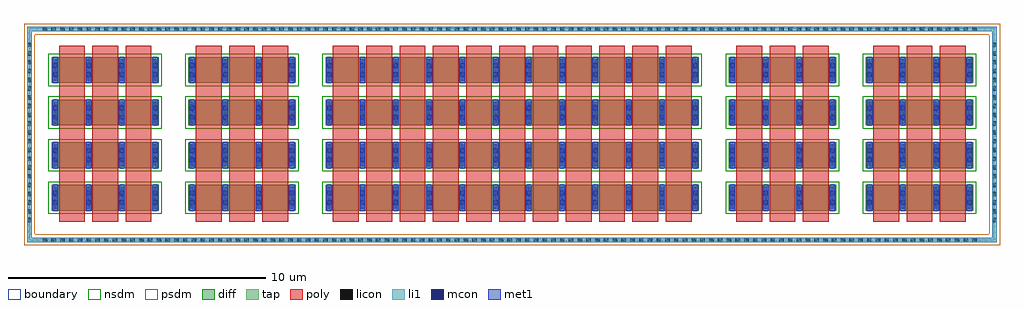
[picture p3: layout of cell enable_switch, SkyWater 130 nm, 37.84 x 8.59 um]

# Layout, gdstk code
import gdstk
lib = gdstk.Library(unit=1e-6, precision=1e-09)
def R(c, l, rs):  # rectangles x0, y0, x1, y1
    for r in rs: c.add(gdstk.rectangle(r[:2], r[2:], *l))
def A(c, l, x, y, w, h, nx, ny, dx, dy):  # array of equal rectangles
    R(c, l, [(x+i*dx, y+j*dy, x+i*dx+w, y+j*dy+h) for i in range(nx) for j in range(ny)])
diff = (65, 20)
tap = (65, 44)
poly = (66, 20)
licon = (66, 44)
li1 = (67, 20)
mcon = (67, 44)
met1 = (68, 20)
nsdm = (93, 44)
psdm = (94, 20)
boundary = (235, 4)

nfet_enable_switch = lib.new_cell('nfet_enable_switch')
R(nfet_enable_switch, diff, [(0.125,0.44,1.705,1.44)])
R(nfet_enable_switch, poly, [(0.415,0,1.415,1.88)])
A(nfet_enable_switch, licon, 0.185, 0.515, 0.17, 0.17, 1, 3, 0, 0.34)
A(nfet_enable_switch, licon, 1.475, 0.515, 0.17, 0.17, 1, 3, 0, 0.34)
R(nfet_enable_switch, li1, [(0.185,0.42,0.355,1.46), (1.475,0.42,1.645,1.46)])
R(nfet_enable_switch, mcon, [(0.185,0.675,0.355,0.845), (1.475,0.675,1.645,0.845), (0.185,1.035,0.355,1.205), (1.475,1.035,1.645,1.205)])
R(nfet_enable_switch, met1, [(0.155,0.44,0.385,1.44), (1.445,0.44,1.675,1.44)])
R(nfet_enable_switch, nsdm, [(0,0.315,1.815,1.565)])

nfet_m9 = lib.new_cell('nfet_M9')
R(nfet_m9, diff, [(0.125,0.45,1.705,1.45)])
R(nfet_m9, poly, [(0.415,0.01,1.415,1.89), (0.415,0.01,1.415,1.89)])
R(nfet_m9, licon, [(0.185,0.525,0.355,0.695), (0.185,0.525,0.355,0.695), (1.475,0.525,1.645,0.695), (1.475,0.525,1.645,0.695), (0.185,0.865,0.355,1.035), (0.185,0.865,0.355,1.035), (1.475,0.865,1.645,1.035), (1.475,0.865,1.645,1.035), (0.185,1.205,0.355,1.375), (0.185,1.205,0.355,1.375), (1.475,1.205,1.645,1.375), (1.475,1.205,1.645,1.375)])
R(nfet_m9, li1, [(0.185,0.43,0.355,1.47), (0.185,0.43,0.355,1.47), (1.475,0.43,1.645,1.47), (1.475,0.43,1.645,1.47)])
R(nfet_m9, mcon, [(0.185,0.685,0.355,0.855), (0.185,0.685,0.355,0.855), (1.475,0.685,1.645,0.855), (1.475,0.685,1.645,0.855), (0.185,1.045,0.355,1.215), (0.185,1.045,0.355,1.215), (1.475,1.045,1.645,1.215), (1.475,1.045,1.645,1.215)])
R(nfet_m9, met1, [(0.155,0.45,0.385,1.45), (0.155,0.45,0.385,1.45), (1.445,0.45,1.675,1.45), (1.445,0.45,1.675,1.45)])
R(nfet_m9, nsdm, [(0,0.325,1.82,1.575)])

nfet_en_sw_all_t = lib.new_cell('nfet_en_sw_all_t')
r = gdstk.Reference(nfet_enable_switch, (10.62,0)); r.repetition = gdstk.Repetition(11, 4, v1=(1.29,0), v2=(0,1.65)); nfet_en_sw_all_t.add(r)
r = gdstk.Reference(nfet_m9, (5.3,-0.01)); r.repetition = gdstk.Repetition(3, 4, v1=(1.29,0), v2=(0,1.65)); nfet_en_sw_all_t.add(r)
r = gdstk.Reference(nfet_m9, (31.57,-0.01)); r.repetition = gdstk.Repetition(3, 4, v1=(1.29,0), v2=(0,1.65)); nfet_en_sw_all_t.add(r)
r = gdstk.Reference(nfet_m9, (26.255,-0.01)); r.repetition = gdstk.Repetition(3, 4, v1=(1.29,0), v2=(0,1.65)); nfet_en_sw_all_t.add(r)
r = gdstk.Reference(nfet_m9, (0,-0.01)); r.repetition = gdstk.Repetition(3, 4, v1=(1.29,0), v2=(0,1.65)); nfet_en_sw_all_t.add(r)

enable_switch = lib.new_cell('enable_switch')
R(enable_switch, tap, [(-12.15,37.475,25.44,37.645), (-12.15,37.645,-11.98,45.645), (25.27,37.645,25.44,45.645), (-12.15,45.645,25.44,45.815)])
A(enable_switch, licon, -11.55, 37.475, 0.17, 0.17, 16, 2, 0.34, 8.17)
A(enable_switch, licon, -6.45, 37.475, 0.17, 0.17, 15, 2, 0.34, 8.17)
A(enable_switch, licon, -1.35, 37.475, 0.17, 0.17, 15, 2, 0.34, 8.17)
A(enable_switch, licon, 3.41, 37.475, 0.17, 0.17, 8, 2, 0.34, 8.17)
A(enable_switch, licon, 8.17, 37.475, 0.17, 0.17, 15, 2, 0.34, 8.17)
A(enable_switch, licon, 13.27, 37.475, 0.17, 0.17, 12, 2, 0.34, 8.17)
A(enable_switch, licon, 20.41, 37.475, 0.17, 0.17, 6, 2, 0.34, 8.17)
A(enable_switch, licon, 22.11, 37.475, 0.17, 0.17, 3, 2, 0.34, 8.17)
A(enable_switch, licon, 23.81, 37.475, 0.17, 0.17, 3, 2, 0.34, 8.17)
A(enable_switch, licon, -12.15, 38.24, 0.17, 0.17, 1, 5, 0, 0.34)
A(enable_switch, licon, 25.27, 38.24, 0.17, 0.17, 1, 5, 0, 0.34)
A(enable_switch, licon, -12.15, 39.6, 0.17, 0.17, 1, 5, 0, 0.34)
A(enable_switch, licon, 25.27, 39.6, 0.17, 0.17, 1, 5, 0, 0.34)
A(enable_switch, licon, -12.15, 40.96, 0.17, 0.17, 1, 5, 0, 0.34)
A(enable_switch, licon, 25.27, 40.96, 0.17, 0.17, 1, 5, 0, 0.34)
A(enable_switch, licon, -12.15, 42.32, 0.17, 0.17, 1, 5, 0, 0.34)
A(enable_switch, licon, 25.27, 42.32, 0.17, 0.17, 1, 5, 0, 0.34)
A(enable_switch, licon, -12.15, 43.68, 0.17, 0.17, 1, 5, 0, 0.34)
A(enable_switch, licon, 25.27, 43.68, 0.17, 0.17, 1, 5, 0, 0.34)
R(enable_switch, licon, [(-1.69,37.475,-1.52,37.645), (-1.35,37.475,-1.18,37.645), (5.79,37.475,5.96,37.645), (5.79,37.475,5.96,37.645), (6.13,37.475,6.3,37.645), (6.13,37.475,6.3,37.645), (6.13,37.475,6.3,37.645), (6.47,37.475,6.64,37.645), (6.47,37.475,6.64,37.645), (6.47,37.475,6.64,37.645), (6.81,37.475,6.98,37.645), (6.81,37.475,6.98,37.645), (7.15,37.475,7.32,37.645), (7.15,37.475,7.32,37.645), (7.49,37.475,7.66,37.645), (7.49,37.475,7.66,37.645), (7.83,37.475,8,37.645), (7.83,37.475,8,37.645), (8.17,37.475,8.34,37.645), (12.93,37.475,13.1,37.645), (13.27,37.475,13.44,37.645), (17.01,37.475,17.18,37.645), (17.01,37.475,17.18,37.645), (17.35,37.475,17.52,37.645), (17.35,37.475,17.52,37.645), (17.35,37.475,17.52,37.645), (17.69,37.475,17.86,37.645), (17.69,37.475,17.86,37.645), (18.03,37.475,18.2,37.645), (18.03,37.475,18.2,37.645), (18.03,37.475,18.2,37.645), (18.37,37.475,18.54,37.645), (18.37,37.475,18.54,37.645), (18.71,37.475,18.88,37.645), (18.71,37.475,18.88,37.645), (18.71,37.475,18.88,37.645), (18.71,37.475,18.88,37.645), (19.05,37.475,19.22,37.645), (19.05,37.475,19.22,37.645), (19.05,37.475,19.22,37.645), (19.05,37.475,19.22,37.645), (19.39,37.475,19.56,37.645), (19.39,37.475,19.56,37.645), (19.39,37.475,19.56,37.645), (19.73,37.475,19.9,37.645), (19.73,37.475,19.9,37.645), (19.73,37.475,19.9,37.645), (19.73,37.475,19.9,37.645), (20.07,37.475,20.24,37.645), (20.07,37.475,20.24,37.645), (20.41,37.475,20.58,37.645), (22.79,37.475,22.96,37.645), (22.79,37.475,22.96,37.645), (23.13,37.475,23.3,37.645), (23.13,37.475,23.3,37.645), (23.13,37.475,23.3,37.645), (23.47,37.475,23.64,37.645), (23.47,37.475,23.64,37.645), (23.81,37.475,23.98,37.645), (23.81,37.475,23.98,37.645), (-12.15,38.24,-11.98,38.41), (25.27,38.24,25.44,38.41), (-1.69,45.645,-1.52,45.815), (-1.35,45.645,-1.18,45.815), (5.79,45.645,5.96,45.815), (5.79,45.645,5.96,45.815), (6.13,45.645,6.3,45.815), (6.13,45.645,6.3,45.815), (6.13,45.645,6.3,45.815), (6.47,45.645,6.64,45.815), (6.47,45.645,6.64,45.815), (6.47,45.645,6.64,45.815), (6.81,45.645,6.98,45.815), (6.81,45.645,6.98,45.815), (7.15,45.645,7.32,45.815), (7.15,45.645,7.32,45.815), (7.49,45.645,7.66,45.815), (7.49,45.645,7.66,45.815), (7.83,45.645,8,45.815), (7.83,45.645,8,45.815), (8.17,45.645,8.34,45.815), (12.93,45.645,13.1,45.815), (13.27,45.645,13.44,45.815), (17.01,45.645,17.18,45.815), (17.01,45.645,17.18,45.815), (17.35,45.645,17.52,45.815), (17.35,45.645,17.52,45.815), (17.35,45.645,17.52,45.815), (17.69,45.645,17.86,45.815), (17.69,45.645,17.86,45.815), (18.03,45.645,18.2,45.815), (18.03,45.645,18.2,45.815), (18.03,45.645,18.2,45.815), (18.37,45.645,18.54,45.815), (18.37,45.645,18.54,45.815), (18.71,45.645,18.88,45.815), (18.71,45.645,18.88,45.815), (18.71,45.645,18.88,45.815), (18.71,45.645,18.88,45.815), (19.05,45.645,19.22,45.815), (19.05,45.645,19.22,45.815), (19.05,45.645,19.22,45.815), (19.05,45.645,19.22,45.815), (19.39,45.645,19.56,45.815), (19.39,45.645,19.56,45.815), (19.39,45.645,19.56,45.815), (19.73,45.645,19.9,45.815), (19.73,45.645,19.9,45.815), (19.73,45.645,19.9,45.815), (19.73,45.645,19.9,45.815), (20.07,45.645,20.24,45.815), (20.07,45.645,20.24,45.815), (20.41,45.645,20.58,45.815), (22.79,45.645,22.96,45.815), (22.79,45.645,22.96,45.815), (23.13,45.645,23.3,45.815), (23.13,45.645,23.3,45.815), (23.13,45.645,23.3,45.815), (23.47,45.645,23.64,45.815), (23.47,45.645,23.64,45.815), (23.81,45.645,23.98,45.815), (23.81,45.645,23.98,45.815)])
R(enable_switch, li1, [(-12.15,37.475,25.44,37.645), (-12.15,37.645,-11.98,45.645), (25.27,37.645,25.44,45.645), (-12.15,45.645,25.44,45.815)])
R(enable_switch, psdm, [(-12.275,37.35,25.565,37.77), (-12.275,37.77,-11.855,45.52), (25.145,37.77,25.565,45.52), (-12.275,45.52,25.565,45.94)])
R(enable_switch, boundary, [(-12.065,37.545,25.35,45.755)])
enable_switch.add(gdstk.Reference(nfet_en_sw_all_t, (-11.33,38.255)))

lib.write_gds('enable_switch.gds')
